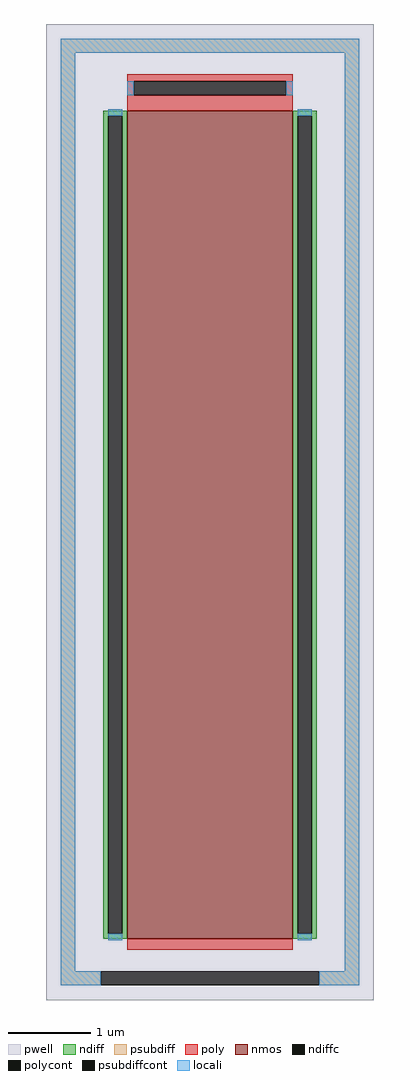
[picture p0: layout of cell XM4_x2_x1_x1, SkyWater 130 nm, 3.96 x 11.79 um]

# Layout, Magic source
magic
tech sky130A
magscale 1 2
<< pwell >>
rect -396 -1179 396 1179
<< nmos >>
rect -200 -1031 200 969
<< ndiff >>
rect -258 957 -200 969
rect -258 -1019 -246 957
rect -212 -1019 -200 957
rect -258 -1031 -200 -1019
rect 200 957 258 969
rect 200 -1019 212 957
rect 246 -1019 258 957
rect 200 -1031 258 -1019
<< ndiffc >>
rect -246 -1019 -212 957
rect 212 -1019 246 957
<< psubdiff >>
rect -360 1109 360 1143
rect -360 -1109 -326 1109
rect 326 -1109 360 1109
rect -360 -1143 -264 -1109
rect 264 -1143 360 -1109
<< psubdiffcont >>
rect -264 -1143 264 -1109
<< poly >>
rect -200 1041 200 1057
rect -200 1007 -184 1041
rect 184 1007 200 1041
rect -200 969 200 1007
rect -200 -1057 200 -1031
<< polycont >>
rect -184 1007 184 1041
<< locali >>
rect -360 1109 360 1143
rect -360 -1109 -326 1109
rect -200 1007 -184 1041
rect 184 1007 200 1041
rect -246 957 -212 973
rect -246 -1035 -212 -1019
rect 212 957 246 973
rect 212 -1035 246 -1019
rect 326 -1109 360 1109
rect -360 -1143 -264 -1109
rect 264 -1143 360 -1109
<< properties >>
string FIXED_BBOX -343 -1126 343 1126
<< end >>
